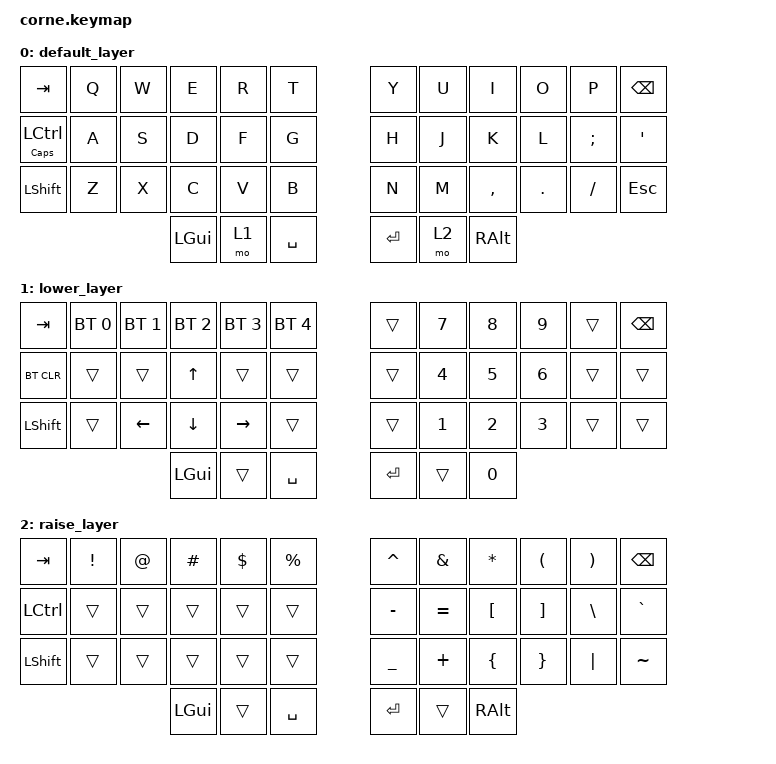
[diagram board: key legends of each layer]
/*
 * Copyright (c) 2020 The ZMK Contributors
 *
 * SPDX-License-Identifier: MIT
 */

#include <behaviors.dtsi>
#include <dt-bindings/zmk/bt.h>
#include <dt-bindings/zmk/keys.h>

/ {
    combos { compatible = "zmk,combos"; };

    behaviors {
        tap_hold: tap_hold {
            compatible = "zmk,behavior-hold-tap";
            label = "TAP_HOLD";
            bindings = <&kp>, <&kp>;

            #binding-cells = <2>;
            tapping-term-ms = <250>;
            flavor = "tap-preferred";
            hold-trigger-key-positions = <12>;
            hold-trigger-on-release;
        };
    };

    keymap {
        compatible = "zmk,keymap";

        default_layer {
            // -----------------------------------------------------------------------------------------
            // |  TAB |  Q  |  W  |  E  |  R  |  T  |   |  Y  |  U   |  I  |  O  |  P  | BSPC |
            // | CTRL |  A  |  S  |  D  |  F  |  G  |   |  H  |  J   |  K  |  L  |  ;  |  '   |
            // | SHFT |  Z  |  X  |  C  |  V  |  B  |   |  N  |  M   |  ,  |  .  |  /  | ESC  |
            //                    | GUI | LWR | SPC |   | ENT | RSE  | ALT |

            bindings = <
&kp TAB                      &kp Q  &kp W  &kp E     &kp R  &kp T        &kp Y    &kp U  &kp I      &kp O    &kp P     &kp BSPC
&tap_hold CLCK LEFT_CONTROL  &kp A  &kp S  &kp D     &kp F  &kp G        &kp H    &kp J  &kp K      &kp L    &kp SEMI  &kp SQT
&kp LSHFT                    &kp Z  &kp X  &kp C     &kp V  &kp B        &kp N    &kp M  &kp COMMA  &kp DOT  &kp FSLH  &kp ESC
                                           &kp LGUI  &mo 1  &kp SPACE    &kp RET  &mo 2  &kp RALT
            >;
        };

        lower_layer {
            // -----------------------------------------------------------------------------------------
            // |  TAB |  1  |  2  |  3  |  4  |  5  |   |  6  |  7  |  8  |  9  |  0  | BSPC |
            // | BTCLR| BT1 | BT2 | BT3 | BT4 | BT5 |   | LFT | DWN |  UP | RGT |     |      |
            // | SHFT |     |     |     |     |     |   |     |     |     |     |     |      |
            //                    | GUI |     | SPC |   | ENT |     | ALT |

            bindings = <
&kp TAB     &bt BT_SEL 0  &bt BT_SEL 1  &bt BT_SEL 2  &bt BT_SEL 3  &bt BT_SEL 4    &trans   &kp N7        &kp N8        &kp N9        &trans  &kp BSPC
&bt BT_CLR  &trans        &trans        &kp UP        &trans        &trans          &trans   &kp NUMBER_4  &kp N5        &kp NUMBER_6  &trans  &trans
&kp LSHFT   &trans        &kp LEFT      &kp DOWN      &kp RIGHT     &trans          &trans   &kp NUMBER_1  &kp NUMBER_2  &kp NUMBER_3  &trans  &trans
                                        &kp LGUI      &trans        &kp SPACE       &kp RET  &trans        &kp NUMBER_0
            >;
        };

        raise_layer {
            // -----------------------------------------------------------------------------------------
            // |  TAB |  !  |  @  |  #  |  $  |  %  |   |  ^  |  &  |  *  |  (  |  )  | BSPC |
            // | CTRL |     |     |     |     |     |   |  -  |  =  |  [  |  ]  |  \  |  `   |
            // | SHFT |     |     |     |     |     |   |  _  |  +  |  {  |  }  | "|" |  ~   |
            //                    | GUI |     | SPC |   | ENT |     | ALT |

            bindings = <
&kp TAB    &kp EXCL  &kp AT  &kp HASH  &kp DLLR  &kp PRCNT    &kp CARET  &kp AMPS   &kp ASTRK  &kp LPAR  &kp RPAR  &kp BSPC
&kp LCTRL  &trans    &trans  &trans    &trans    &trans       &kp MINUS  &kp EQUAL  &kp LBKT   &kp RBKT  &kp BSLH  &kp GRAVE
&kp LSHFT  &trans    &trans  &trans    &trans    &trans       &kp UNDER  &kp PLUS   &kp LBRC   &kp RBRC  &kp PIPE  &kp TILDE
                             &kp LGUI  &trans    &kp SPACE    &kp RET    &trans     &kp RALT
            >;
        };
    };
};
